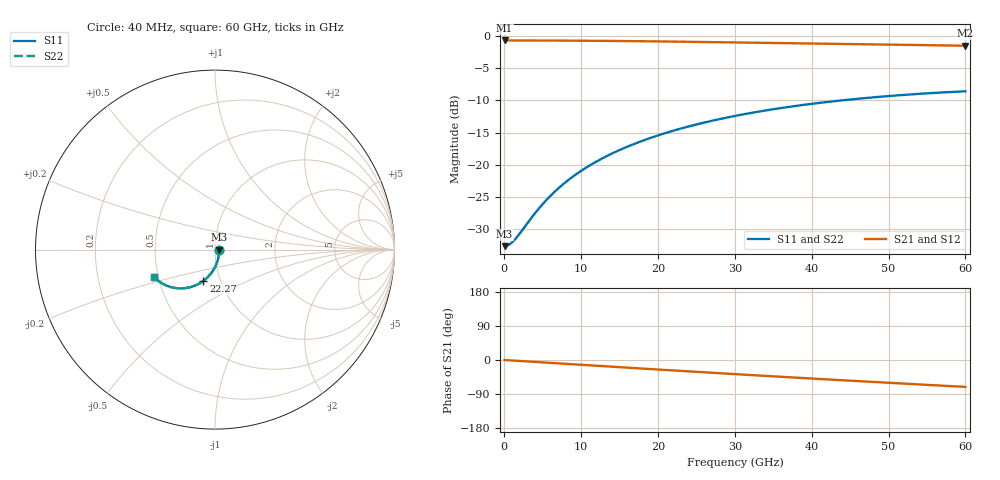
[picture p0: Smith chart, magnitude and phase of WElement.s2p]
! Created Thu Oct  3 14:34:44 2024
# hz S ma R 50
! 2 Port Network Data from SP1.SP block
! freq  magS11  angS11  magS21  angS21  magS12  angS12  magS22  angS22
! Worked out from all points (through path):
!   5997 points, 40 MHz to 60 GHz, reference 50 ohm
!   highest |S21| = -0.65 dB at 40 MHz (marker M1); lowest = -1.5 dB at 60 GHz (marker M2)
!   group delay of S21, straight-line fit = 3.29 ps
!   lowest |S11| = -32.7 dB at 40 MHz (marker M3), VSWR 1.05, Z = 52.4 - j0.0388 ohm
!   |S11| at or under -10 dB: start of sweep to 43.78 GHz
!   |S22| runs from -32.7 to -8.6 dB; largest |S21 - S12| = 0
!   S11 on the Smith chart (normalised r, x): 40 MHz: 1.05, -0.00; 22.27 GHz: 0.83, -0.30; 60 GHz: 0.47, -0.17
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4e7  0.02317 -0.9  0.928 -0.1  0.928 -0.1  0.02317 -0.9
6.6e8  0.02388 -14.8  0.928 -0.8  0.928 -0.8  0.02388 -14.8
1.34e9  0.02596 -28.5  0.928 -1.7  0.928 -1.7  0.02596 -28.5
1.93e9  0.02866 -38.5  0.9279 -2.5  0.9279 -2.5  0.02866 -38.5
4.29e9  0.04402 -63.6  0.9273 -5.5  0.9273 -5.5  0.04402 -63.6
5.22e9  0.05105 -69.5  0.9269 -6.6  0.9269 -6.6  0.05105 -69.5
6.18e9  0.05857 -74.4  0.9264 -7.9  0.9264 -7.9  0.05857 -74.4
8.01e9  0.07328 -81.6  0.9254 -10.2  0.9254 -10.2  0.07328 -81.6
1.004e10  0.08983 -87.6  0.9239 -12.7  0.9239 -12.7  0.08983 -87.6
1.218e10  0.1073 -92.7  0.9219 -15.4  0.9219 -15.4  0.1073 -92.7
1.455e10  0.1264 -97.6  0.9194 -18.4  0.9194 -18.4  0.1264 -97.6
1.716e10  0.1471 -102.3  0.9163 -21.7  0.9163 -21.7  0.1471 -102.3
2.003e10  0.1692 -106.9  0.9123 -25.2  0.9123 -25.2  0.1692 -106.9
2.227e10  0.186 -110.4  0.9089 -27.9  0.9089 -27.9  0.186 -110.4
2.597e10  0.2125 -115.7  0.9029 -32.4  0.9029 -32.4  0.2125 -115.7
3.002e10  0.2397 -121.1  0.8958 -37.3  0.8958 -37.3  0.2397 -121.1
3.481e10  0.2692 -127.3  0.8869 -42.9  0.8869 -42.9  0.2692 -127.3
4.002e10  0.2979 -133.7  0.8772 -49.0  0.8772 -49.0  0.2979 -133.7
4.496e10  0.3216 -139.5  0.8681 -54.5  0.8681 -54.5  0.3216 -139.5
5.001e10  0.3423 -145.2  0.8594 -60.2  0.8594 -60.2  0.3423 -145.2
5.504e10  0.3595 -150.7  0.8515 -65.6  0.8515 -65.6  0.3595 -150.7
6e10  0.373 -156.0  0.8447 -71.0  0.8447 -71.0  0.373 -156.0
